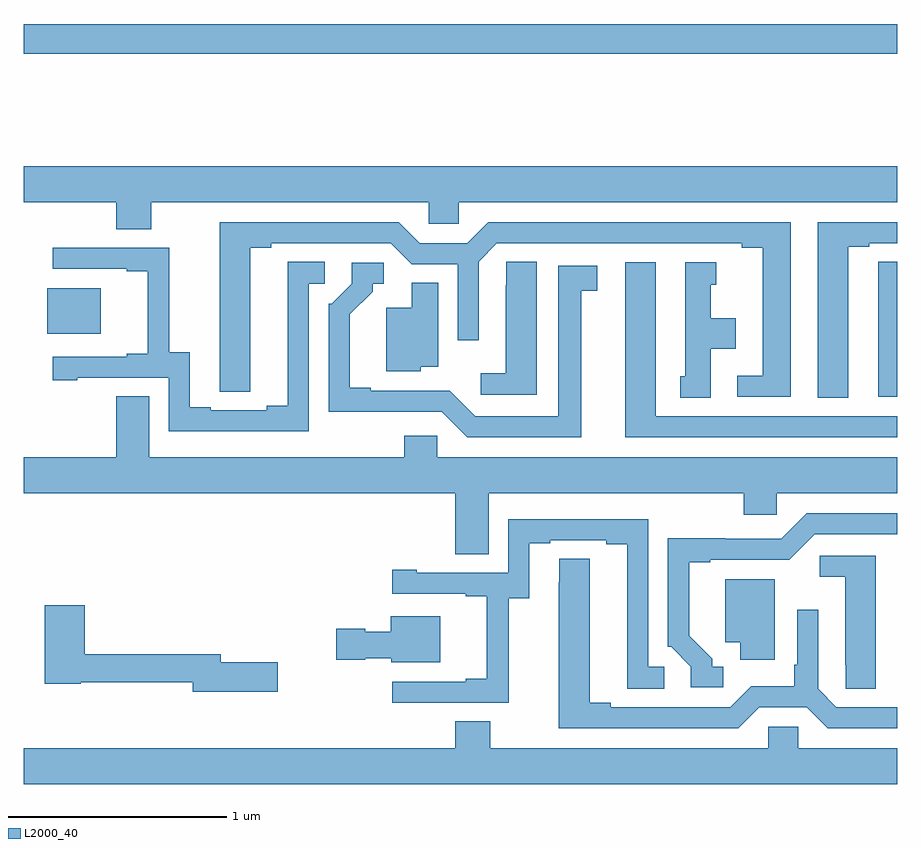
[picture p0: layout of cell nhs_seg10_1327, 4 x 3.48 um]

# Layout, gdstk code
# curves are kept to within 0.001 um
import gdstk
lib = gdstk.Library(unit=1e-6, precision=1e-09)
def R(c, l, rs):  # rectangles x0, y0, x1, y1
    for r in rs: c.add(gdstk.rectangle(r[:2], r[2:], *l))
def P(c, l, *ps):  # polygons
    for p in ps: c.add(gdstk.Polygon(p, *l))
L2000_40 = (2000, 40)

nhs_seg10_1327 = lib.new_cell('nhs_seg10_1327')
R(nhs_seg10_1327, L2000_40, [(179.108,1309.037,179.353,1309.246), (179,1310.32,183,1310.456)])
P(nhs_seg10_1327, L2000_40, [(179.583,1309.64),(180.855,1309.64),(180.855,1309.542),(180.993,1309.542),(180.993,1309.64),(183,1309.64),(183,1309.804),(179,1309.804),(179,1309.64),(179.423,1309.64),(179.423,1309.516),(179.583,1309.516)],
  [(182.776,1309.437),(182.872,1309.437),(182.872,1309.452),(183,1309.452),(183,1309.548),(182.636,1309.548),(182.636,1308.745),(182.776,1308.745)],
  [(182.512,1309.548),(181.127,1309.548),(181.031,1309.452),(180.813,1309.452),(180.717,1309.548),(179.897,1309.548),(179.898,1308.772),(180.037,1308.772),(180.037,1309.432),(180.133,1309.432),(180.133,1309.452),(180.681,1309.452),(180.777,1309.356),(180.987,1309.356),(180.987,1309.008),(181.083,1309.008),(181.083,1309.368),(181.167,1309.452),(182.288,1309.452),(182.288,1309.432),(182.384,1309.432),(182.384,1308.846),(182.268,1308.846),(182.268,1308.75),(182.512,1308.75)],
  [(180.306,1309.266),(180.379,1309.266),(180.379,1309.367),(180.209,1309.367),(180.209,1308.707),(180.113,1308.707),(180.113,1308.687),(179.857,1308.687),(179.857,1308.702),(179.761,1308.702),(179.761,1308.953),(179.667,1308.953),(179.667,1309.431),(179.133,1309.431),(179.133,1309.335),(179.471,1309.335),(179.471,1309.323),(179.567,1309.323),(179.567,1308.946),(179.471,1308.946),(179.471,1308.933),(179.133,1308.933),(179.133,1308.825),(179.245,1308.825),(179.245,1308.837),(179.664,1308.837),(179.664,1308.591),(180.306,1308.591)],
  [(183,1309.367),(182.913,1309.367),(182.913,1309.259),(182.912,1309.259),(182.912,1308.749),(183,1308.749)],
  [(181.348,1309.367),(181.209,1309.367),(181.209,1309.259),(181.208,1309.259),(181.208,1308.856),(181.092,1308.856),(181.092,1308.759),(181.348,1308.759)],
  [(183,1308.66),(181.894,1308.66),(181.894,1309.366),(181.754,1309.366),(181.754,1308.564),(183,1308.564)],
  [(182.146,1308.968),(182.26,1308.968),(182.26,1309.108),(182.146,1309.108),(182.146,1309.263),(182.17,1309.263),(182.17,1309.366),(182.03,1309.366),(182.03,1308.843),(182.006,1308.843),(182.006,1308.745),(182.146,1308.745)],
  [(181.552,1309.234),(181.627,1309.234),(181.627,1309.35),(181.448,1309.35),(181.448,1308.66),(181.068,1308.66),(180.951,1308.777),(180.589,1308.777),(180.589,1308.79),(180.493,1308.79),(180.493,1309.126),(180.598,1309.231),(180.598,1309.266),(180.649,1309.266),(180.649,1309.362),(180.501,1309.362),(180.501,1309.266),(180.411,1309.176),(180.396,1309.176),(180.396,1308.68),(180.915,1308.681),(181.032,1308.564),(181.552,1308.564)],
  [(180.819,1308.887),(180.898,1308.887),(180.898,1309.271),(180.776,1309.271),(180.776,1309.156),(180.659,1309.156),(180.659,1308.866),(180.819,1308.866)],
  [(181.129,1308.308),(182.297,1308.308),(182.297,1308.21),(182.448,1308.21),(182.448,1308.308),(183,1308.308),(183,1308.472),(180.894,1308.472),(180.894,1308.57),(180.743,1308.57),(180.743,1308.472),(179.575,1308.472),(179.575,1308.752),(179.423,1308.752),(179.423,1308.472),(179,1308.472),(179,1308.308),(180.977,1308.308),(180.977,1308.028),(181.129,1308.028)],
  [(182.203,1307.514),(182.152,1307.514),(182.152,1307.549),(182.047,1307.654),(182.047,1307.991),(182.143,1307.991),(182.143,1308.003),(182.505,1308.003),(182.622,1308.12),(183,1308.12),(183,1308.216),(182.586,1308.216),(182.469,1308.099),(182.213,1308.099),(182.213,1308.101),(181.95,1308.101),(181.95,1307.604),(181.965,1307.604),(182.055,1307.514),(182.055,1307.418),(182.203,1307.418)],
  [(181.221,1307.827),(181.315,1307.827),(181.315,1308.078),(181.411,1308.078),(181.411,1308.093),(181.667,1308.093),(181.667,1308.073),(181.763,1308.073),(181.763,1307.413),(181.933,1307.413),(181.933,1307.514),(181.86,1307.514),(181.86,1308.189),(181.218,1308.189),(181.218,1307.943),(180.799,1307.943),(180.799,1307.956),(180.687,1307.956),(180.687,1307.847),(181.025,1307.847),(181.025,1307.835),(181.121,1307.835),(181.121,1307.458),(181.025,1307.458),(181.025,1307.445),(180.687,1307.445),(180.687,1307.349),(181.221,1307.349)],
  [(182.902,1308.021),(182.646,1308.021),(182.646,1307.924),(182.762,1307.924),(182.762,1307.521),(182.763,1307.521),(182.763,1307.413),(182.902,1307.413)],
  [(182.367,1307.328),(182.585,1307.328),(182.681,1307.232),(183,1307.232),(183,1307.328),(182.721,1307.328),(182.637,1307.412),(182.637,1307.773),(182.541,1307.773),(182.541,1307.521),(182.529,1307.521),(182.529,1307.424),(182.331,1307.424),(182.235,1307.328),(181.687,1307.328),(181.687,1307.348),(181.591,1307.348),(181.591,1308.008),(181.452,1308.008),(181.451,1307.232),(182.271,1307.232)],
  [(182.44,1307.914),(182.213,1307.914),(182.213,1307.624),(182.282,1307.624),(182.282,1307.544),(182.44,1307.544)],
  [(180.163,1307.534),(179.902,1307.534),(179.902,1307.57),(179.279,1307.57),(179.279,1307.794),(179.096,1307.794),(179.096,1307.434),(179.262,1307.434),(179.262,1307.442),(179.774,1307.442),(179.774,1307.399),(180.163,1307.399)],
  [(180.907,1307.743),(180.68,1307.743),(180.68,1307.674),(180.564,1307.674),(180.564,1307.687),(180.432,1307.687),(180.432,1307.545),(180.564,1307.545),(180.564,1307.552),(180.684,1307.552),(180.684,1307.534),(180.907,1307.534)],
  [(183,1307.14),(182.547,1307.14),(182.547,1307.238),(182.409,1307.238),(182.409,1307.14),(181.137,1307.14),(181.137,1307.264),(180.977,1307.264),(180.977,1307.14),(179,1307.14),(179,1306.976),(183,1306.976)])

lib.write_gds('nhs_seg10_1327.gds')
